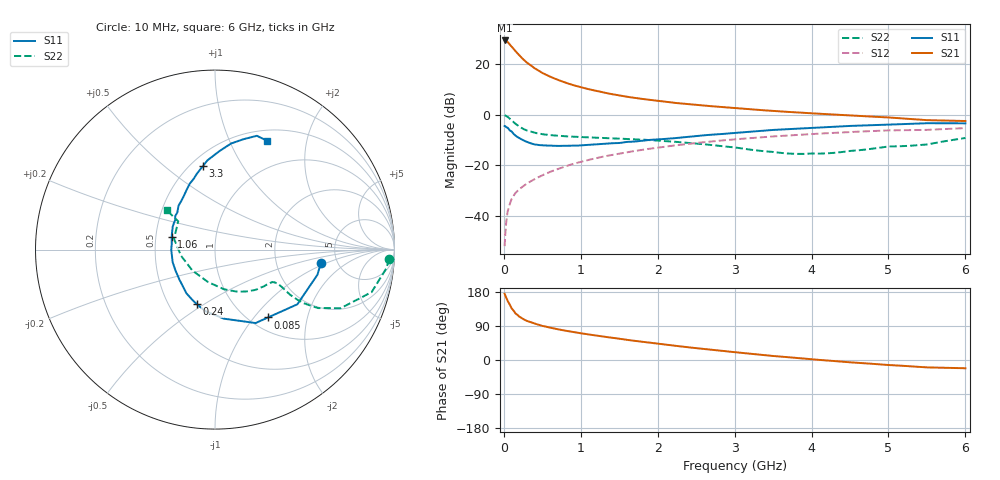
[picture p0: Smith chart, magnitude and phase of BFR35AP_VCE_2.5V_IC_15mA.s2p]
! Infineon Technologies  Discrete & RF Semiconductors
! BFR35AP
! VCE =  2.5 V,  IC =  15 mA
! Common Emitter S-Parameters:  Nov 2015
# GHz  S  MA  R  50
!  f  S11  S21  S12  S22
! GHz  MAG  ANG  MAG  ANG  MAG  ANG  MAG  ANG
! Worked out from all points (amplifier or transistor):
!   210 points, 10 MHz to 6 GHz, reference 50 ohm
!   highest |S21| = 29.1 dB at 10 MHz (marker M1)
!   |S21| within 3 dB of that: start of sweep to 118.7 MHz
!   unconditionally stable (mu >= 1): 438.2 MHz to 3.449 GHz
!   at 185 MHz: K = 0.68, MSG = 26.8 dB, |S12| = -29.8 dB
!   at 1.52 GHz: K = 1.11, MAG = 9.3 dB, |S12| = -15.2 dB
!   at 6 GHz: K = 0.97, MSG = 1.4 dB, |S12| = -5.3 dB
!   S11 on the Smith chart (normalised r, x): 10 MHz: 3.73, -0.85; 85 MHz: 1.20, -1.18; 240 MHz: 0.69, -0.46; 1.06 GHz: 0.61, +0.09; 3.3 GHz: 0.57, +0.69; 6 GHz: 0.63, +1.39
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0.01  0.5948 -7.1  28.54 174.8  0.0026 87.3  0.9725 -3.1
0.02  0.5877 -13.8  28.33 169.3  0.0047 79.6  0.9592 -6.4
0.05  0.5508 -33.6  26.59 155.3  0.0125 76.0  0.9042 -15.2
0.085  0.4799 -52.0  23.04 143.0  0.0189 69.3  0.8094 -21.7
0.1  0.4675 -61.1  21.91 136.7  0.0217 67.7  0.7726 -25.0
0.15  0.3882 -82.6  17.69 123.2  0.0288 64.2  0.6596 -29.6
0.2  0.3468 -98.9  14.56 114.5  0.0341 64.5  0.5793 -31.1
0.24  0.3196 -108.7  12.65 109.5  0.0379 63.8  0.5348 -31.3
0.3  0.2909 -123.2  10.47 103.1  0.0441 64.7  0.4864 -31.0
0.4  0.2592 -140.0  8.112 95.9  0.0539 66.2  0.4386 -29.6
0.5  0.249 -152.2  6.57 90.0  0.0639 67.2  0.4107 -28.8
0.7  0.2423 -173.3  4.813 81.1  0.085 67.7  0.384 -28.7
0.8  0.2438 -179.9  4.228 77.3  0.0963 67.4  0.3741 -29.0
1.02  0.2494 165.4  3.384 69.9  0.1198 66.4  0.3608 -30.8
1.06  0.2518 163.3  3.268 68.8  0.1241 66.1  0.3587 -31.4
1.4  0.2732 146.9  2.521 58.8  0.1603 63.2  0.3432 -36.2
2.02  0.326 126.1  1.842 42.6  0.2262 56.5  0.3064 -48.1
3.1  0.4473 101.4  1.303 18.8  0.3348 42.8  0.215 -81.5
3.3  0.4722 98.0  1.237 14.9  0.353 39.9  0.1963 -91.2
4.1  0.558 86.2  1.038 0.3  0.4224 29.4  0.1711 -144.2
5.1  0.6424 74.4  0.856 -14.3  0.4903 15.3  0.2376 160.3
6  0.6724 64.6  0.747 -21.8  0.5425 5.1  0.3465 140.8
